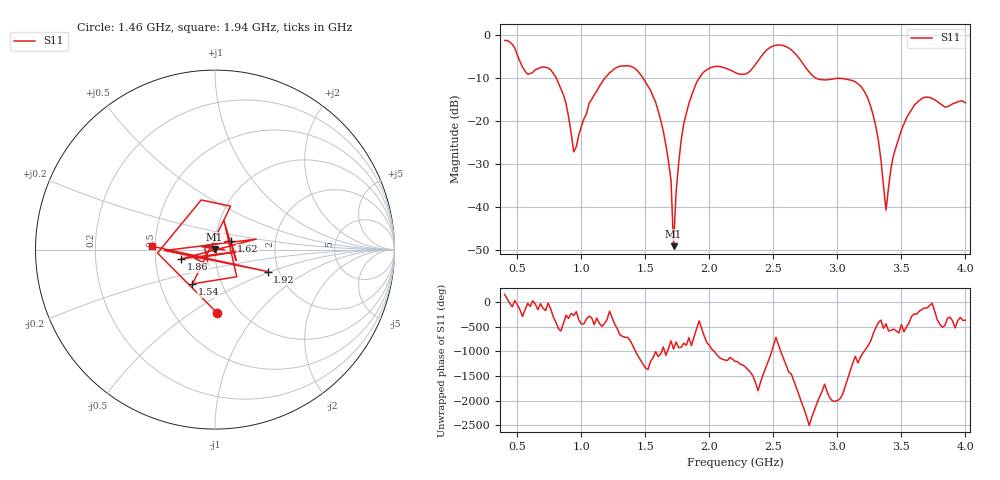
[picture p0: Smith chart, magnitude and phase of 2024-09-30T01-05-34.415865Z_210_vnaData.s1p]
!Created with skrf (http://scikit-rf.org).
# Hz S RI R 50.0
!freq ReS11 ImS11
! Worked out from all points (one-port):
!   181 points, 400 MHz to 4 GHz, reference 50 ohm
!   lowest |S11| = -49.1 dB at 1.72 GHz (marker M1), VSWR 1.01, Z = 49.8 + j0.28 ohm
!   |S11| at or under -10 dB: 803.5 MHz to 1.182 GHz (378.4 MHz wide, 38.1 % of centre); 1.483 GHz to 1.92 GHz (437 MHz wide, 25.7 % of centre); 3.023 GHz to end of sweep (the widest 3 of 4)
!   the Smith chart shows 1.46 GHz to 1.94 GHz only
!   S11 on the Smith chart (normalised r, x): 1.46 GHz: 0.79, -0.64; 1.54 GHz: 0.73, -0.29; 1.62 GHz: 1.19, +0.12; 1.86 GHz: 0.68, -0.07; 1.92 GHz: 1.75, -0.47; 1.94 GHz: 0.48, +0.02
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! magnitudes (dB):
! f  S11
! 400 MHz  -1.2
! 580 MHz  -9.0
! 760 MHz  -8.0
! 860 MHz  -13.9
! 940 MHz  -27.2
! 1.06 GHz  -15.9
! 1.3 GHz  -7.2
! 1.46 GHz  -9.1
! 1.54 GHz  -12.8
! 1.62 GHz  -19.8
! 1.7 GHz  -33.8
! 1.72 GHz  -49.1
! 1.76 GHz  -29.7
! 1.86 GHz  -14.1
! 1.92 GHz  -10.0
! 1.94 GHz  -9.1
! 2.2 GHz  -8.6
! 2.5 GHz  -2.5
! 2.66 GHz  -4.0
! 2.84 GHz  -10.1
! 3.1 GHz  -10.4
! 3.28 GHz  -18.7
! 3.32 GHz  -24.5
! 3.38 GHz  -40.7
! 3.44 GHz  -27.8
! 3.56 GHz  -18.2
! 3.68 GHz  -14.4
! 4 GHz  -15.7
